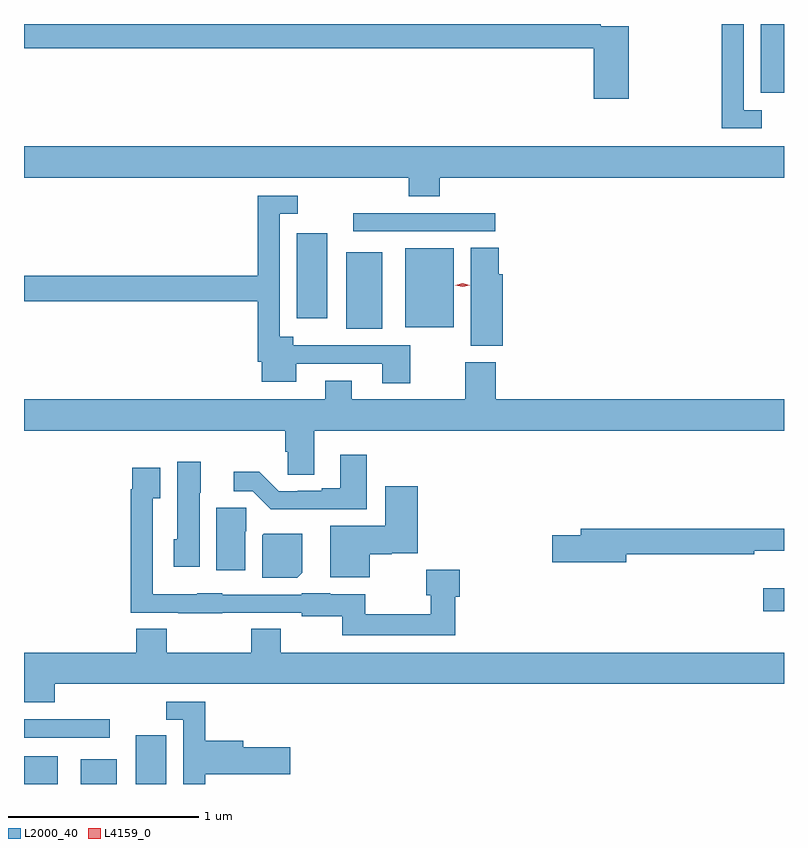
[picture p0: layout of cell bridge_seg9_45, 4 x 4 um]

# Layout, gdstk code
import gdstk
lib = gdstk.Library(unit=1e-6, precision=1e-09)
def R(c, l, rs):  # rectangles x0, y0, x1, y1
    for r in rs: c.add(gdstk.rectangle(r[:2], r[2:], *l))
def P(c, l, *ps):  # polygons
    for p in ps: c.add(gdstk.Polygon(p, *l))
L2000_40 = (2000, 40)
L4159_0 = (4159, 0)

bridge_seg9_45 = lib.new_cell('bridge_seg9_45')
R(bridge_seg9_45, L2000_40, [(912.471,1223.864,912.649,1224.01), (912.77,1223.864,912.958,1223.995), (913.058,1223.864,913.219,1224.12), (912.471,1224.108,912.922,1224.204), (916.362,1224.773,916.471,1224.895), (914.168,1226.261,914.356,1226.662), (914.477,1226.267,914.734,1226.683), (913.907,1226.316,914.068,1226.764), (914.205,1226.772,914.95,1226.868), (916.349,1227.503,916.471,1227.864)])
P(bridge_seg9_45, L2000_40, [(916.354,1227.411),(916.26,1227.411),(916.26,1227.864),(916.144,1227.864),(916.144,1227.315),(916.354,1227.315)],
  [(915.653,1227.852),(915.506,1227.852),(915.506,1227.864),(912.471,1227.864),(912.471,1227.736),(915.47,1227.736),(915.47,1227.471),(915.653,1227.471)],
  [(914.66,1227.056),(916.471,1227.056),(916.471,1227.22),(912.471,1227.22),(912.471,1227.056),(914.495,1227.056),(914.495,1226.957),(914.66,1226.957)],
  [(914.505,1226.172),(913.888,1226.172),(913.888,1226.218),(913.818,1226.218),(913.818,1226.865),(913.912,1226.865),(913.912,1226.961),(913.702,1226.961),(913.702,1226.54),(912.471,1226.54),(912.471,1226.404),(913.702,1226.404),(913.702,1226.086),(913.721,1226.086),(913.721,1225.982),(913.903,1225.982),(913.903,1226.076),(914.357,1226.076),(914.357,1225.974),(914.505,1225.974)],
  [(914.99,1226.547),(914.969,1226.547),(914.969,1226.687),(914.822,1226.687),(914.822,1226.171),(914.99,1226.171)],
  [(913.999,1225.724),(916.471,1225.724),(916.471,1225.888),(914.954,1225.888),(914.954,1226.083),(914.794,1226.083),(914.794,1225.888),(914.197,1225.888),(914.197,1225.987),(914.057,1225.987),(914.057,1225.888),(912.471,1225.888),(912.471,1225.724),(913.847,1225.724),(913.847,1225.614),(913.86,1225.614),(913.86,1225.492),(913.999,1225.492)],
  [(914.275,1225.597),(914.135,1225.597),(914.135,1225.42),(914.039,1225.42),(914.039,1225.407),(913.912,1225.407),(913.912,1225.404),(913.812,1225.404),(913.71,1225.507),(913.575,1225.507),(913.575,1225.404),(913.674,1225.404),(913.769,1225.31),(914.275,1225.31)],
  [(913.396,1225.398),(913.402,1225.398),(913.402,1225.561),(913.277,1225.561),(913.277,1225.152),(913.259,1225.152),(913.259,1225.008),(913.396,1225.008)],
  [(914.741,1224.85),(914.765,1224.85),(914.765,1224.992),(914.587,1224.992),(914.587,1224.857),(914.613,1224.857),(914.613,1224.757),(914.266,1224.757),(914.266,1224.862),(914.082,1224.862),(914.082,1224.868),(913.932,1224.868),(913.932,1224.861),(913.515,1224.861),(913.515,1224.868),(913.383,1224.868),(913.383,1224.862),(913.149,1224.862),(913.149,1225.367),(913.189,1225.367),(913.189,1225.528),(913.041,1225.528),(913.041,1225.415),(913.033,1225.415),(913.033,1224.765),(913.283,1224.765),(913.283,1224.764),(913.515,1224.764),(913.515,1224.765),(913.932,1224.765),(913.932,1224.746),(914.145,1224.746),(914.145,1224.648),(914.741,1224.648)],
  [(914.29,1225.072),(914.406,1225.072),(914.406,1225.079),(914.543,1225.079),(914.543,1225.432),(914.372,1225.432),(914.372,1225.222),(914.084,1225.222),(914.084,1224.953),(914.29,1224.953)],
  [(913.636,1225.194),(913.64,1225.194),(913.64,1225.317),(913.484,1225.317),(913.484,1224.99),(913.636,1224.99)],
  [(915.64,1225.072),(916.314,1225.072),(916.314,1225.091),(916.471,1225.091),(916.471,1225.208),(915.401,1225.208),(915.401,1225.172),(915.252,1225.172),(915.252,1225.03),(915.64,1225.03)],
  [(913.936,1224.976),(913.936,1225.18),(913.732,1225.18),(913.724,1225.172),(913.724,1224.95),(913.91,1224.95)],
  [(912.632,1224.392),(916.471,1224.392),(916.471,1224.556),(913.821,1224.556),(913.821,1224.68),(913.666,1224.68),(913.666,1224.556),(913.221,1224.556),(913.221,1224.68),(913.061,1224.68),(913.061,1224.556),(912.471,1224.556),(912.471,1224.293),(912.632,1224.293)],
  [(913.424,1223.915),(913.873,1223.915),(913.873,1224.057),(913.624,1224.057),(913.624,1224.091),(913.424,1224.091),(913.424,1224.297),(913.219,1224.297),(913.219,1224.201),(913.308,1224.201),(913.308,1223.864),(913.424,1223.864)])
P(bridge_seg9_45, L4159_0, [(914.779,1226.48),(914.742,1226.49),(914.741,1226.49),(914.742,1226.49),(914.779,1226.5),(914.816,1226.49),(914.816,1226.49),(914.816,1226.49)])

lib.write_gds('bridge_seg9_45.gds')
